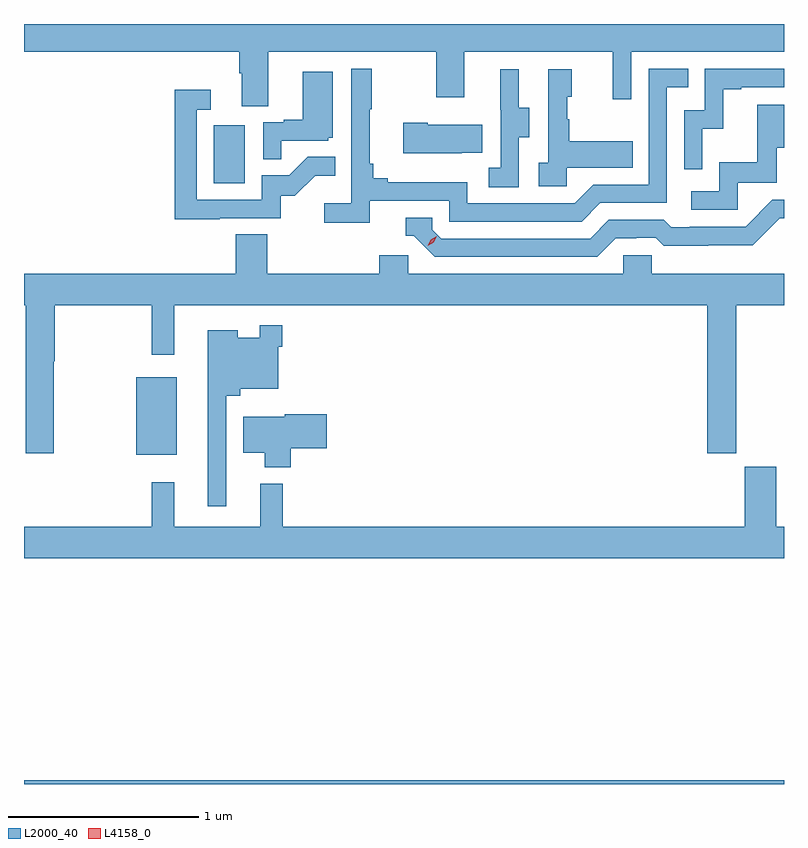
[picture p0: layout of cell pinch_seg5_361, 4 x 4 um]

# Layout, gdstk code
import gdstk
lib = gdstk.Library(unit=1e-6, precision=1e-09)
def R(c, l, rs):  # rectangles x0, y0, x1, y1
    for r in rs: c.add(gdstk.rectangle(r[:2], r[2:], *l))
def P(c, l, *ps):  # polygons
    for p in ps: c.add(gdstk.Polygon(p, *l))
L2000_40 = (2000, 40)
L4158_0 = (4158, 0)

pinch_seg5_361 = lib.new_cell('pinch_seg5_361')
R(pinch_seg5_361, L2000_40, [(1011.252,884.875,1015.252,884.896), (1011.842,886.607,1012.057,887.017), (1012.25,888.036,1012.414,888.343)])
P(pinch_seg5_361, L2000_40, [(1012.537,888.728),(1013.422,888.728),(1013.422,888.489),(1013.569,888.489),(1013.569,888.728),(1014.35,888.728),(1014.35,888.48),(1014.447,888.48),(1014.447,888.728),(1015.252,888.728),(1015.252,888.875),(1011.252,888.875),(1011.252,888.728),(1012.385,888.728),(1012.385,888.616),(1012.397,888.616),(1012.397,888.442),(1012.537,888.442)],
  [(1013.072,887.946),(1013.49,887.946),(1013.49,887.835),(1014.187,887.835),(1014.286,887.934),(1014.636,887.934),(1014.636,888.543),(1014.749,888.543),(1014.749,888.639),(1014.54,888.639),(1014.54,888.03),(1014.249,888.03),(1014.15,887.931),(1013.586,887.931),(1013.586,888.043),(1013.167,888.043),(1013.167,888.062),(1013.09,888.062),(1013.09,888.139),(1013.071,888.139),(1013.071,888.427),(1013.083,888.427),(1013.083,888.64),(1012.974,888.64),(1012.974,887.932),(1012.833,887.932),(1012.833,887.83),(1013.072,887.83)],
  [(1014.822,888.323),(1014.932,888.323),(1014.932,888.531),(1015.027,888.531),(1015.027,888.543),(1015.252,888.543),(1015.252,888.639),(1014.834,888.639),(1014.834,888.42),(1014.726,888.42),(1014.726,888.111),(1014.822,888.111)],
  [(1013.856,888.28),(1013.911,888.28),(1013.911,888.435),(1013.857,888.435),(1013.857,888.637),(1013.759,888.637),(1013.759,888.423),(1013.76,888.423),(1013.76,888.119),(1013.697,888.119),(1013.697,888.016),(1013.856,888.016)],
  [(1014.108,888.119),(1014.455,888.119),(1014.455,888.259),(1014.121,888.259),(1014.121,888.374),(1014.111,888.374),(1014.111,888.492),(1014.136,888.492),(1014.136,888.637),(1014.012,888.637),(1014.012,888.146),(1013.961,888.146),(1013.961,888.021),(1014.108,888.021)],
  [(1012.607,888.261),(1012.854,888.261),(1012.854,888.276),(1012.876,888.276),(1012.876,888.625),(1012.718,888.625),(1012.718,888.37),(1012.619,888.37),(1012.619,888.357),(1012.512,888.357),(1012.512,888.163),(1012.607,888.163)],
  [(1012.283,887.853),(1012.602,887.853),(1012.602,887.97),(1012.678,887.97),(1012.785,888.077),(1012.889,888.077),(1012.889,888.176),(1012.745,888.176),(1012.647,888.078),(1012.503,888.078),(1012.503,887.949),(1012.161,887.949),(1012.161,888.423),(1012.234,888.423),(1012.234,888.529),(1012.045,888.529),(1012.045,887.848),(1012.283,887.848)],
  [(1015.008,888.039),(1015.213,888.039),(1015.213,888.225),(1015.252,888.225),(1015.252,888.451),(1015.111,888.451),(1015.111,888.148),(1014.912,888.148),(1014.912,887.994),(1014.765,887.994),(1014.765,887.898),(1015.008,887.898)],
  [(1013.555,888.197),(1013.663,888.197),(1013.663,888.346),(1013.377,888.346),(1013.377,888.354),(1013.249,888.354),(1013.249,888.194),(1013.555,888.194)],
  [(1014.367,887.748),(1014.474,887.748),(1014.474,887.751),(1014.577,887.751),(1014.619,887.709),(1014.852,887.709),(1014.852,887.711),(1015.088,887.711),(1015.23,887.853),(1015.252,887.853),(1015.252,887.949),(1015.191,887.949),(1015.05,887.808),(1014.757,887.808),(1014.757,887.805),(1014.658,887.805),(1014.619,887.844),(1014.33,887.844),(1014.231,887.745),(1013.448,887.745),(1013.4,887.793),(1013.4,887.856),(1013.261,887.856),(1013.261,887.76),(1013.304,887.76),(1013.415,887.649),(1014.268,887.649)],
  [(1011.408,887.1),(1011.413,887.1),(1011.413,887.396),(1011.925,887.396),(1011.925,887.133),(1012.042,887.133),(1012.042,887.396),(1014.848,887.396),(1014.848,886.617),(1015,886.617),(1015,887.396),(1015.252,887.396),(1015.252,887.56),(1014.555,887.56),(1014.555,887.658),(1014.405,887.658),(1014.405,887.56),(1013.274,887.56),(1013.274,887.658),(1013.123,887.658),(1013.123,887.56),(1012.532,887.56),(1012.532,887.768),(1012.367,887.768),(1012.367,887.56),(1011.252,887.56),(1011.252,887.396),(1011.26,887.396),(1011.26,886.617),(1011.408,886.617)],
  [(1012.317,886.919),(1012.391,886.919),(1012.391,886.955),(1012.59,886.955),(1012.59,887.177),(1012.61,887.177),(1012.61,887.29),(1012.494,887.29),(1012.494,887.224),(1012.378,887.224),(1012.378,887.263),(1012.22,887.263),(1012.22,886.338),(1012.317,886.338)],
  [(1012.655,886.642),(1012.846,886.642),(1012.846,886.82),(1012.624,886.82),(1012.624,886.807),(1012.406,886.807),(1012.406,886.619),(1012.52,886.619),(1012.52,886.541),(1012.655,886.541)],
  [(1015.252,886.228),(1015.21,886.228),(1015.21,886.545),(1015.046,886.545),(1015.046,886.228),(1012.613,886.228),(1012.613,886.456),(1012.496,886.456),(1012.496,886.228),(1012.043,886.228),(1012.043,886.462),(1011.925,886.462),(1011.925,886.228),(1011.252,886.228),(1011.252,886.064),(1015.252,886.064)])
P(pinch_seg5_361, L4158_0, [(1013.377,887.707),(1013.377,887.707),(1013.393,887.739),(1013.424,887.759),(1013.424,887.759),(1013.424,887.758),(1013.408,887.726),(1013.377,887.707)])

lib.write_gds('pinch_seg5_361.gds')
